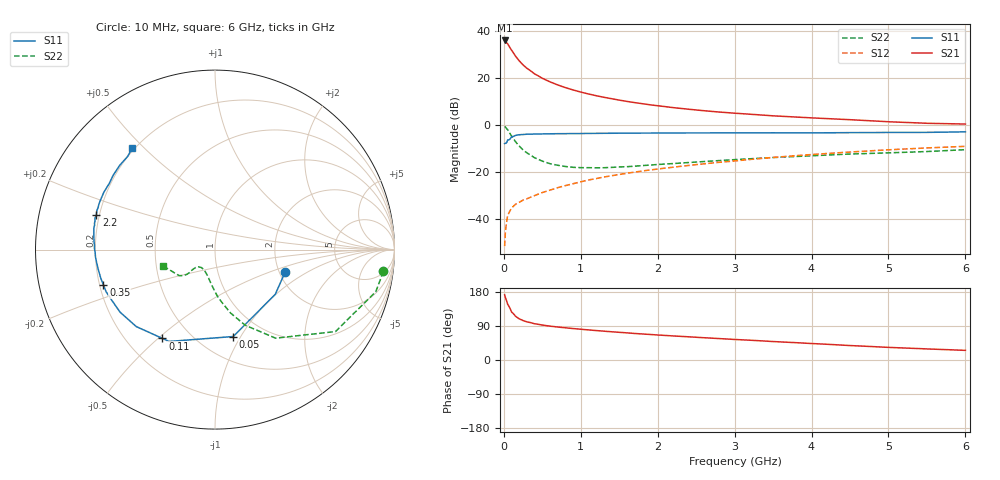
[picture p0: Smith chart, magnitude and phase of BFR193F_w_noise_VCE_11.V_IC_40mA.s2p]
! Infineon Technologies  Discrete & RF Semiconductors
! BFR193F
! VCE =  11. V,  IC =  40 mA
! Common Emitter S-Parameters:  Jan 2017
# GHz  S  MA  R  50
!  f  S11  S21  S12  S22
! GHz  MAG  ANG  MAG  ANG  MAG  ANG  MAG  ANG
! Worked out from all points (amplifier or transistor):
!   77 points, 10 MHz to 6 GHz, reference 50 ohm
!   highest |S21| = 36.2 dB at 10 MHz (marker M1)
!   |S21| within 3 dB of that: start of sweep to 78.42 MHz
!   unconditionally stable (mu >= 1): 995 MHz to 1.037 GHz; 1.108 GHz to 2.628 GHz
!   at 130 MHz: K = 0.40, MSG = 32.4 dB, |S12| = -34.2 dB
!   at 2.2 GHz: K = 1.02, MAG = 11.8 dB, |S12| = -17.8 dB
!   at 6 GHz: K = 0.84, MSG = 4.7 dB, |S12| = -8.9 dB
!   lowest NFmin = 1.34 dB at 450 MHz
!   S11 on the Smith chart (normalised r, x): 10 MHz: 2.16, -0.64; 50 MHz: 0.72, -0.93; 110 MHz: 0.35, -0.52; 350 MHz: 0.22, -0.15; 2.2 GHz: 0.19, +0.14; 6 GHz: 0.19, +0.46
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0.01  0.4109 -17.5  64.2 172.2  0.0027 79.7  0.9462 -7.4
0.02  0.4181 -36.6  62.16 165.0  0.0053 75.7  0.9261 -14.7
0.05  0.4948 -78.2  54.39 146.9  0.0121 65.2  0.812 -34.2
0.1  0.572 -116.6  39.9 126.8  0.0174 54.3  0.5984 -55.6
0.11  0.575 -120.6  37.83 125.0  0.0181 53.3  0.5677 -57.6
0.15  0.6136 -135.7  30.02 115.7  0.0209 49.9  0.4539 -68.2
0.2  0.6334 -146.6  23.66 108.7  0.0232 49.5  0.3649 -76.1
0.25  0.641 -154.1  19.36 104.1  0.0258 50.7  0.3007 -82.1
0.3  0.6506 -158.9  16.41 100.7  0.0275 52.2  0.2605 -87.0
0.35  0.6521 -162.4  14.44 98.5  0.0298 54.6  0.2324 -90.2
0.4  0.6559 -165.8  12.48 95.6  0.0321 56.6  0.2052 -94.2
0.5  0.6594 -170.1  10.07 92.2  0.0373 60.0  0.1739 -100.0
0.6  0.6634 -173.7  8.452 89.4  0.042 62.7  0.1535 -105.2
0.8  0.668 -178.5  6.371 85.0  0.0524 66.4  0.1337 -114.4
1.1  0.6757 176.1  4.67 79.4  0.0691 69.2  0.1262 -123.5
1.5  0.6836 171.0  3.458 73.1  0.0905 71.6  0.1308 -132.0
2.1  0.69 164.5  2.507 64.8  0.1236 72.3  0.1509 -137.4
2.2  0.689 163.6  2.393 63.5  0.1292 72.3  0.1544 -137.5
3.1  0.6952 156.0  1.776 53.2  0.182 71.4  0.1912 -138.1
4.1  0.696 147.2  1.422 42.5  0.2465 68.2  0.2299 -140.9
5.1  0.7089 137.4  1.179 32.5  0.3084 63.2  0.2644 -151.7
6  0.7306 129.0  1.07 25.4  0.359 58.0  0.305 -162.9
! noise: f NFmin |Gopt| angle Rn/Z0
0.45  1.34  0.43  179  0.06
0.9  1.42  0.44  180  0.07
1.9  1.98  0.59  -165  0.08
2.4  2.27  0.61  -157  0.13
